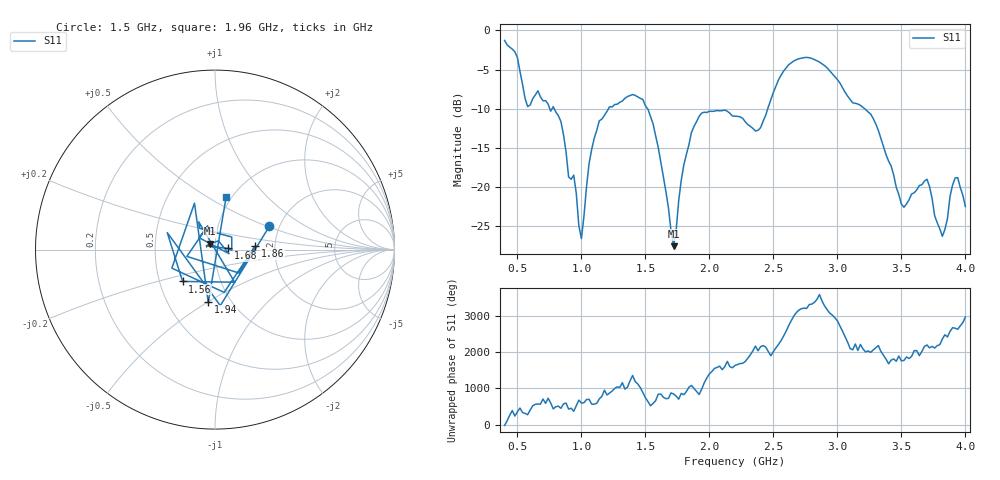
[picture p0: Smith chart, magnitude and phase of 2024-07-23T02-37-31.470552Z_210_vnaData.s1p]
!Created with skrf (http://scikit-rf.org).
# Hz S RI R 50.0
!freq ReS11 ImS11
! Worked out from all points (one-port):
!   181 points, 400 MHz to 4 GHz, reference 50 ohm
!   lowest |S11| = -27.6 dB at 1.72 GHz (marker M1), VSWR 1.09, Z = 47.3 + j3.09 ohm
!   |S11| at or under -10 dB: 787.6 MHz to 1.212 GHz (424 MHz wide, 42.4 % of centre); 1.517 GHz to 2.456 GHz (939.3 MHz wide, 47.3 % of centre); 3.213 GHz to end of sweep (the widest 3 of 4)
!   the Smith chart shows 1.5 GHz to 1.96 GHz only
!   S11 on the Smith chart (normalised r, x): 1.5 GHz: 1.77, +0.52; 1.56 GHz: 0.66, -0.25; 1.68 GHz: 1.16, +0.02; 1.86 GHz: 1.57, +0.06; 1.94 GHz: 0.78, -0.51; 1.96 GHz: 0.94, +0.61
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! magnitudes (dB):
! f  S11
! 400 MHz  -1.3
! 500 MHz  -3.5
! 580 MHz  -9.7
! 660 MHz  -7.7
! 860 MHz  -13.3
! 940 MHz  -18.5
! 1 GHz  -26.6
! 1.1 GHz  -13.8
! 1.3 GHz  -9.2
! 1.5 GHz  -9.6
! 1.56 GHz  -11.9
! 1.68 GHz  -22.7
! 1.72 GHz  -27.6
! 1.76 GHz  -21.8
! 1.86 GHz  -13.0
! 1.94 GHz  -10.6
! 1.96 GHz  -10.5
! 2.2 GHz  -11.0
! 2.38 GHz  -12.8
! 2.66 GHz  -3.9
! 3.1 GHz  -8.8
! 3.26 GHz  -10.7
! 3.5 GHz  -22.2
! 3.56 GHz  -21.6
! 3.7 GHz  -19.0
! 3.82 GHz  -26.3
! 3.92 GHz  -18.8
! 4 GHz  -22.5
